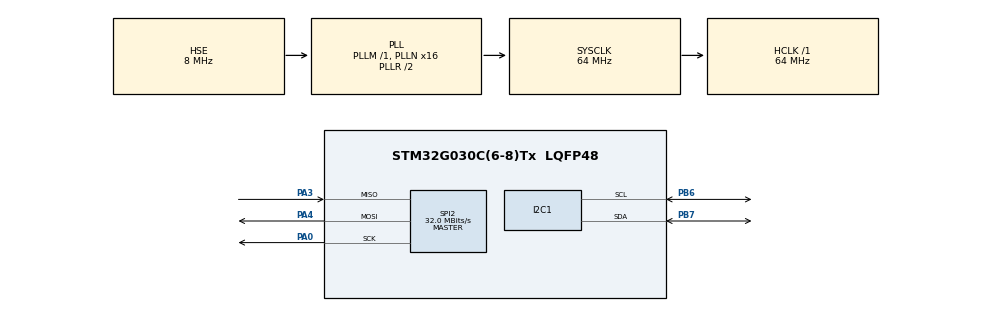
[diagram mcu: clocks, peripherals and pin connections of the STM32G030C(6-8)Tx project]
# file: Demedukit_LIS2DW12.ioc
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I2C1.Timing=0x10B17DB5
Mcu.Family=STM32G0
Mcu.Name=STM32G030C(6-8)Tx
Mcu.Package=LQFP48
PA0.Mode=Full_Duplex_Master
PA0.Signal=SPI2_SCK
PA13.Mode=Serial_Wire
PA13.Signal=SYS_SWDIO
PA14-BOOT0.Mode=Serial_Wire
PA14-BOOT0.Signal=SYS_SWCLK
PA3.Mode=Full_Duplex_Master
PA3.Signal=SPI2_MISO
PA4.Mode=Full_Duplex_Master
PA4.Signal=SPI2_MOSI
PB6.Mode=I2C
PB6.Signal=I2C1_SCL
PB7.Mode=I2C
PB7.Signal=I2C1_SDA
PC14-OSC32_IN\ (PC14).Mode=LSE-External-Oscillator
PC14-OSC32_IN\ (PC14).Signal=RCC_OSC32_IN
PC15-OSC32_OUT\ (PC15).Mode=LSE-External-Oscillator
PC15-OSC32_OUT\ (PC15).Signal=RCC_OSC32_OUT
PF0-OSC_IN\ (PF0).Mode=HSE-External-Oscillator
PF0-OSC_IN\ (PF0).Signal=RCC_OSC_IN
PF1-OSC_OUT\ (PF1).Mode=HSE-External-Oscillator
PF1-OSC_OUT\ (PF1).Signal=RCC_OSC_OUT
ProjectManager.HeapSize=0x200
ProjectManager.StackSize=0x400
ProjectManager.TargetToolchain=STM32CubeIDE
RCC.ADCFreq_Value=64000000
RCC.AHBFreq_Value=64000000
RCC.CortexFreq_Value=64000000
RCC.EXTERNAL_CLOCK_VALUE=12288000
RCC.HCLKFreq_Value=64000000
RCC.HSE_VALUE=8000000
RCC.HSI_VALUE=16000000
RCC.PLLN=16
RCC.PLLSourceVirtual=RCC_PLLSOURCE_HSE
RCC.SYSCLKFreq_VALUE=64000000
RCC.SYSCLKSource=RCC_SYSCLKSOURCE_PLLCLK
RCC.VCOOutputFreq_Value=128000000
SPI2.CalculateBaudRate=32.0 MBits/s
SPI2.Direction=SPI_DIRECTION_2LINES
SPI2.Mode=SPI_MODE_MASTER
SPI2.VirtualType=VM_MASTER
board=custom

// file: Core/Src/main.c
/* USER CODE BEGIN Header */
/**
  ******************************************************************************
  * @file           : main.c
  * @brief          : Main program body
  ******************************************************************************
  * @attention
  *
  * Copyright (c) 2024 STMicroelectronics.
  * All rights reserved.
  *
  * This software is licensed under terms that can be found in the LICENSE file
  * in the root directory of this software component.
  * If no LICENSE file comes with this software, it is provided AS-IS.
  *
  ******************************************************************************
  */
/* USER CODE END Header */
#include "main.h"

/* USER CODE BEGIN Includes */
#include "lis2dw12_reg.h"
#include "ssd1306.h"
#include "stdio.h"
#include "string.h"
/* USER CODE END Includes */

/* USER CODE BEGIN PM */
#define SENSOR_BUS hi2c1;
#define BOOT_TIME 20;
/* USER CODE END PM */

I2C_HandleTypeDef hi2c1;

SPI_HandleTypeDef hspi2;

/* USER CODE BEGIN PV */
stmdev_ctx_t dev_ctx;
static int16_t data_raw_acceleration[3];
static float acceleration_mg[3];
static uint8_t whoamI, rst;
/* USER CODE END PV */

void SystemClock_Config(void);
static void MX_GPIO_Init(void);
static void MX_I2C1_Init(void);
static void MX_SPI2_Init(void);
/* USER CODE BEGIN PFP */
static int32_t platform_write(void *handle, uint8_t reg, const uint8_t *bufp, uint16_t len);
static int32_t platform_read(void *handle, uint8_t reg, uint8_t *bufp, uint16_t len);
/* USER CODE END PFP */

/* USER CODE BEGIN 0 */
HAL_StatusTypeDef ret = HAL_ERROR;
uint8_t rec_buff[10] = {0};
/* USER CODE END 0 */

int main(void)
{

  /* MCU Configuration--------------------------------------------------------*/

  /* Reset of all peripherals, Initializes the Flash interface and the Systick. */
  HAL_Init();

  /* Configure the system clock */
  SystemClock_Config();

  /* Initialize all configured peripherals */
  MX_GPIO_Init();
  MX_I2C1_Init();
  MX_SPI2_Init();
  /* USER CODE BEGIN 2 */
	ssd1306_Init();
	ssd1306_Fill(Black);
	HAL_Delay(25);
	ssd1306_SetCursor(15, 2);
	ssd1306_WriteString("DEMSAY", Font_16x26, White);
	ssd1306_SetCursor(14, 27);
	ssd1306_WriteString("EDUCATION", Font_11x18, White);
	ssd1306_SetCursor(45, 46);
	ssd1306_WriteString("KIT", Font_11x18, White);
	ssd1306_UpdateScreen();
	HAL_Delay(1000);
	ssd1306_Fill(Black);

	dev_ctx.write_reg = platform_write;
	dev_ctx.read_reg = platform_read;
	dev_ctx.handle = &SENSOR_BUS;

	lis2dw12_device_id_get(&dev_ctx, &whoamI);
	lis2dw12_reset_set(&dev_ctx, PROPERTY_ENABLE);

	do
	{
		lis2dw12_reset_get(&dev_ctx, &rst);
	} while (rst);

	/* Enable Block Data Update */
	lis2dw12_block_data_update_set(&dev_ctx, PROPERTY_ENABLE);
	/* Set full scale */
	lis2dw12_full_scale_set(&dev_ctx, LIS2DW12_2g);
	/* Configure filtering chain
	 * Accelerometer - filter path / bandwidth
	 */
	lis2dw12_filter_path_set(&dev_ctx, LIS2DW12_LPF_ON_OUT);
	lis2dw12_filter_bandwidth_set(&dev_ctx, LIS2DW12_ODR_DIV_4);
	/* Configure power mode */
	lis2dw12_power_mode_set(&dev_ctx, LIS2DW12_HIGH_PERFORMANCE);
	/* Set Output Data Rate */
	lis2dw12_data_rate_set(&dev_ctx, LIS2DW12_XL_ODR_25Hz);
  /* USER CODE END 2 */

  /* Infinite loop */
  /* USER CODE BEGIN WHILE */
  while (1)
  {
		uint8_t reg;
		/* Read output only if new value is available */
		lis2dw12_flag_data_ready_get(&dev_ctx, &reg);

		if (reg)
		{
			/* Read acceleration data */
			memset(data_raw_acceleration, 0, sizeof(data_raw_acceleration));
			lis2dw12_acceleration_raw_get(&dev_ctx, data_raw_acceleration);				//reading values from the accelerometer
			acceleration_mg[0] = lis2dw12_from_fs2_to_mg(data_raw_acceleration[0]);
			acceleration_mg[1] = lis2dw12_from_fs2_to_mg(data_raw_acceleration[1]);
			acceleration_mg[2] = lis2dw12_from_fs2_to_mg(data_raw_acceleration[2]);
		}
		char str0[10] = { 0 };
		char str1[10] = { 0 };
		char str2[10] = { 0 };
		sprintf(str0, "%.2f m/s2", acceleration_mg[2] / 100);
		sprintf(str1, "%.2f m/s2", acceleration_mg[1] / 100);
		sprintf(str2, "%.2f m/s2", acceleration_mg[0] / 100);
		ssd1306_SetCursor(2, 0);
		ssd1306_WriteString("G:", Font_11x18, White);
		ssd1306_SetCursor(25, 0);
		ssd1306_WriteString(str2, Font_11x18, White);
		// printing the values from the accelerometer
		ssd1306_SetCursor(2, 20);
		ssd1306_WriteString("X:", Font_11x18, White);
		ssd1306_SetCursor(25, 20);
		ssd1306_WriteString(str1, Font_11x18, White);

		ssd1306_SetCursor(2, 40);
		ssd1306_WriteString("Y:", Font_11x18, White);
		ssd1306_SetCursor(25, 40);
		ssd1306_WriteString(str0, Font_11x18, White);
		// printing the values from the accelerometer
		ssd1306_UpdateScreen();
    /* USER CODE END WHILE */

  }
}

void SystemClock_Config(void)
{
  RCC_OscInitTypeDef RCC_OscInitStruct = {0};
  RCC_ClkInitTypeDef RCC_ClkInitStruct = {0};

  /** Configure the main internal regulator output voltage
  */
  HAL_PWREx_ControlVoltageScaling(PWR_REGULATOR_VOLTAGE_SCALE1);

  /** Initializes the RCC Oscillators according to the specified parameters
  * in the RCC_OscInitTypeDef structure.
  */
  RCC_OscInitStruct.OscillatorType = RCC_OSCILLATORTYPE_HSE;
  RCC_OscInitStruct.HSEState = RCC_HSE_ON;
  RCC_OscInitStruct.PLL.PLLState = RCC_PLL_ON;
  RCC_OscInitStruct.PLL.PLLSource = RCC_PLLSOURCE_HSE;
  RCC_OscInitStruct.PLL.PLLM = RCC_PLLM_DIV1;
  RCC_OscInitStruct.PLL.PLLN = 16;
  RCC_OscInitStruct.PLL.PLLP = RCC_PLLP_DIV2;
  RCC_OscInitStruct.PLL.PLLR = RCC_PLLR_DIV2;
  if (HAL_RCC_OscConfig(&RCC_OscInitStruct) != HAL_OK)
  {
    Error_Handler();
  }

  /** Initializes the CPU, AHB and APB buses clocks
  */
  RCC_ClkInitStruct.ClockType = RCC_CLOCKTYPE_HCLK|RCC_CLOCKTYPE_SYSCLK
                              |RCC_CLOCKTYPE_PCLK1;
  RCC_ClkInitStruct.SYSCLKSource = RCC_SYSCLKSOURCE_PLLCLK;
  RCC_ClkInitStruct.AHBCLKDivider = RCC_SYSCLK_DIV1;
  RCC_ClkInitStruct.APB1CLKDivider = RCC_HCLK_DIV1;

  if (HAL_RCC_ClockConfig(&RCC_ClkInitStruct, FLASH_LATENCY_2) != HAL_OK)
  {
    Error_Handler();
  }
}

static void MX_I2C1_Init(void)
{

  hi2c1.Instance = I2C1;
  hi2c1.Init.Timing = 0x10B17DB5;
  hi2c1.Init.OwnAddress1 = 0;
  hi2c1.Init.AddressingMode = I2C_ADDRESSINGMODE_7BIT;
  hi2c1.Init.DualAddressMode = I2C_DUALADDRESS_DISABLE;
  hi2c1.Init.OwnAddress2 = 0;
  hi2c1.Init.OwnAddress2Masks = I2C_OA2_NOMASK;
  hi2c1.Init.GeneralCallMode = I2C_GENERALCALL_DISABLE;
  hi2c1.Init.NoStretchMode = I2C_NOSTRETCH_DISABLE;
  if (HAL_I2C_Init(&hi2c1) != HAL_OK)
  {
    Error_Handler();
  }

  /** Configure Analogue filter
  */
  if (HAL_I2CEx_ConfigAnalogFilter(&hi2c1, I2C_ANALOGFILTER_ENABLE) != HAL_OK)
  {
    Error_Handler();
  }

  /** Configure Digital filter
  */
  if (HAL_I2CEx_ConfigDigitalFilter(&hi2c1, 0) != HAL_OK)
  {
    Error_Handler();
  }

}

static void MX_SPI2_Init(void)
{

  /* SPI2 parameter configuration*/
  hspi2.Instance = SPI2;
  hspi2.Init.Mode = SPI_MODE_MASTER;
  hspi2.Init.Direction = SPI_DIRECTION_2LINES;
  hspi2.Init.DataSize = SPI_DATASIZE_8BIT;
  hspi2.Init.CLKPolarity = SPI_POLARITY_LOW;
  hspi2.Init.CLKPhase = SPI_PHASE_1EDGE;
  hspi2.Init.NSS = SPI_NSS_SOFT;
  hspi2.Init.BaudRatePrescaler = SPI_BAUDRATEPRESCALER_2;
  hspi2.Init.FirstBit = SPI_FIRSTBIT_MSB;
  hspi2.Init.TIMode = SPI_TIMODE_DISABLE;
  hspi2.Init.CRCCalculation = SPI_CRCCALCULATION_DISABLE;
  hspi2.Init.CRCPolynomial = 7;
  hspi2.Init.CRCLength = SPI_CRC_LENGTH_DATASIZE;
  hspi2.Init.NSSPMode = SPI_NSS_PULSE_ENABLE;
  if (HAL_SPI_Init(&hspi2) != HAL_OK)
  {
    Error_Handler();
  }

}

static void MX_GPIO_Init(void)
{

  /* GPIO Ports Clock Enable */
  __HAL_RCC_GPIOC_CLK_ENABLE();
  __HAL_RCC_GPIOF_CLK_ENABLE();
  __HAL_RCC_GPIOA_CLK_ENABLE();
  __HAL_RCC_GPIOB_CLK_ENABLE();

}

/* USER CODE BEGIN 4 */
static int32_t platform_write(void *handle, uint8_t reg, const uint8_t *bufp, uint16_t len)
{
	HAL_I2C_Mem_Write(handle, LIS2DW12_I2C_ADD_H, reg,
	I2C_MEMADD_SIZE_8BIT, (uint8_t*) bufp, len, 1000);

	return 0;
}
static int32_t platform_read(void *handle, uint8_t reg, uint8_t *bufp, uint16_t len)
{
	HAL_I2C_Mem_Read(handle, LIS2DW12_I2C_ADD_H, reg,
	I2C_MEMADD_SIZE_8BIT, bufp, len, 1000);
	return 0;
}
/* USER CODE END 4 */

void Error_Handler(void)
{
  __disable_irq();
  while (1)
  {
  }
}
